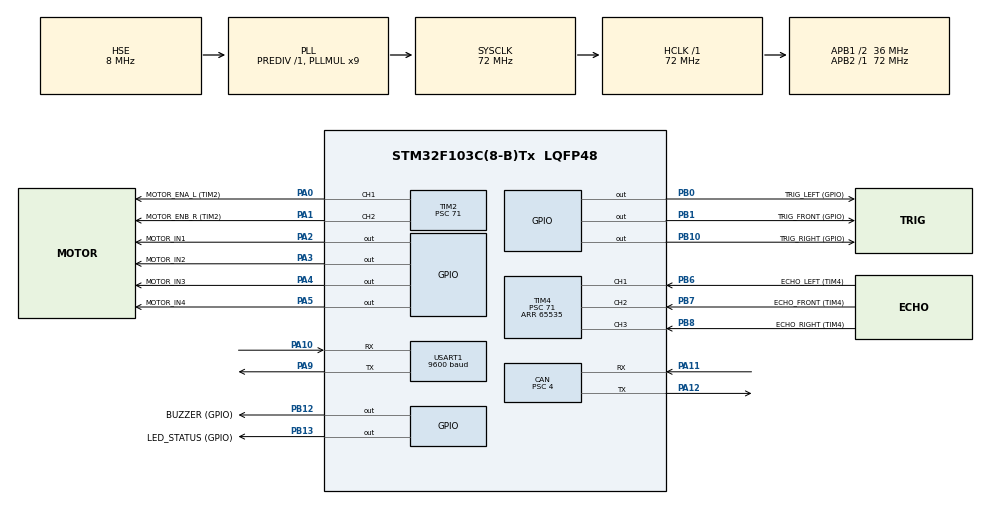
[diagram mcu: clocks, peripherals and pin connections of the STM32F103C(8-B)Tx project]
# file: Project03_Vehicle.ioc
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CAN.BS1=CAN_BS1_15TQ
CAN.BS2=CAN_BS2_2TQ
CAN.CalculateBaudRate=500000
CAN.CalculateTimeBit=2000
CAN.CalculateTimeQuantum=111.11111111111111
CAN.NART=ENABLE
CAN.Prescaler=4
FREERTOS.Mutexes01=DriveModeMutex,Dynamic,NULL,Available
FREERTOS.Tasks01=TrigTask,0,128,StartTrigTask,Default,NULL,Dynamic,NULL,NULL;CtrlTask,1,256,StartCtrlTask,Default,NULL,Dynamic,NULL,NULL;CanRxTask,2,256,StartCanRxTask,As external,NULL,Dynamic,NULL,NULL;CanTxTask,-2,128,StartCanTxTask,As external,NULL,Dynamic,NULL,NULL
FREERTOS.configTOTAL_HEAP_SIZE=10240
Mcu.Family=STM32F1
Mcu.Name=STM32F103C(8-B)Tx
Mcu.Package=LQFP48
NVIC.PriorityGroup=NVIC_PRIORITYGROUP_4
NVIC.TIM4_IRQn=true\:5\:0\:false\:false\:true\:true\:true\:true\:true
NVIC.USART1_IRQn=true\:5\:0\:false\:false\:true\:true\:true\:true\:true
NVIC.USB_LP_CAN1_RX0_IRQn=true\:5\:0\:false\:false\:true\:true\:true\:true\:true
PA0-WKUP.GPIO_Label=MOTOR_ENA_L (TIM2)
PA0-WKUP.Signal=S_TIM2_CH1_ETR
PA1.GPIO_Label=MOTOR_ENB_R (TIM2)
PA1.Signal=S_TIM2_CH2
PA10.Mode=Asynchronous
PA10.Signal=USART1_RX
PA11.GPIO_Mode=GPIO_MODE_INPUT
PA11.GPIO_PuPd=GPIO_NOPULL
PA11.Mode=CAN_Activate
PA11.Signal=CAN_RX
PA12.Mode=CAN_Activate
PA12.Signal=CAN_TX
PA13.Mode=Serial_Wire
PA13.Signal=SYS_JTMS-SWDIO
PA14.Mode=Serial_Wire
PA14.Signal=SYS_JTCK-SWCLK
PA2.GPIO_Label=MOTOR_IN1
PA2.Signal=GPIO_Output
PA3.GPIO_Label=MOTOR_IN2
PA3.Signal=GPIO_Output
PA4.GPIO_Label=MOTOR_IN3
PA4.Signal=GPIO_Output
PA5.GPIO_Label=MOTOR_IN4
PA5.Signal=GPIO_Output
PA9.Mode=Asynchronous
PA9.Signal=USART1_TX
PB0.GPIO_Label=TRIG_LEFT (GPIO)
PB0.Signal=GPIO_Output
PB1.GPIO_Label=TRIG_FRONT (GPIO)
PB1.Signal=GPIO_Output
PB10.GPIO_Label=TRIG_RIGHT (GPIO)
PB10.Signal=GPIO_Output
PB12.GPIO_Label=BUZZER (GPIO)
PB12.Signal=GPIO_Output
PB13.GPIO_Label=LED_STATUS (GPIO)
PB13.Signal=GPIO_Output
PB6.GPIO_Label=ECHO_LEFT (TIM4)
PB6.Signal=S_TIM4_CH1
PB7.GPIO_Label=ECHO_FRONT (TIM4)
PB7.Signal=S_TIM4_CH2
PB8.GPIO_Label=ECHO_RIGHT (TIM4)
PB8.Signal=S_TIM4_CH3
PD0-OSC_IN.Mode=HSE-External-Oscillator
PD0-OSC_IN.Signal=RCC_OSC_IN
PD1-OSC_OUT.Mode=HSE-External-Oscillator
PD1-OSC_OUT.Signal=RCC_OSC_OUT
ProjectManager.HeapSize=0x200
ProjectManager.StackSize=0x400
ProjectManager.TargetToolchain=STM32CubeIDE
RCC.AHBFreq_Value=72000000
RCC.APB1CLKDivider=RCC_HCLK_DIV2
RCC.APB1Freq_Value=36000000
RCC.APB1TimFreq_Value=72000000
RCC.APB2Freq_Value=72000000
RCC.APB2TimFreq_Value=72000000
RCC.HCLKFreq_Value=72000000
RCC.PLLMUL=RCC_PLL_MUL9
RCC.PLLSourceVirtual=RCC_PLLSOURCE_HSE
RCC.SYSCLKFreq_VALUE=72000000
RCC.SYSCLKSource=RCC_SYSCLKSOURCE_PLLCLK
RCC.USBFreq_Value=72000000
SH.S_TIM2_CH1_ETR.0=TIM2_CH1,PWM Generation1 CH1
SH.S_TIM2_CH2.0=TIM2_CH2,PWM Generation2 CH2
SH.S_TIM4_CH1.0=TIM4_CH1,Input_Capture1_from_TI1
SH.S_TIM4_CH2.0=TIM4_CH2,Input_Capture2_from_TI2
SH.S_TIM4_CH3.0=TIM4_CH3,Input_Capture3_from_TI3
TIM2.Channel-PWM\ Generation1\ CH1=TIM_CHANNEL_1
TIM2.Channel-PWM\ Generation2\ CH2=TIM_CHANNEL_2
TIM2.Period=999
TIM2.Prescaler=71
TIM4.Channel-Input_Capture1_from_TI1=TIM_CHANNEL_1
TIM4.Channel-Input_Capture2_from_TI2=TIM_CHANNEL_2
TIM4.Channel-Input_Capture3_from_TI3=TIM_CHANNEL_3
TIM4.Period=65535
TIM4.Prescaler=71
USART1.BaudRate=9600
USART1.VirtualMode=VM_ASYNC
VP_FREERTOS_VS_CMSIS_V1.Mode=CMSIS_V1
board=custom

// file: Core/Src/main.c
/* USER CODE BEGIN Header */
/**
  ******************************************************************************
  * @file           : main.c
  * @brief          : Main program body
  *
  * [수정 사항]
  * 1. AUTOSAR-lite 3계층(ASW/RTE/BSW) 구조로 재편 (ecu_l298n/ecu_hcsr04/
  *    mcal_can/rte_mode_manager/rte_motor/rte_sensor/asw_manual_control/asw_autonomous)
  * 2. 초기화 순서: BSW/ECU(RTE 경유) -> RTE -> BSW/MCAL -> ASW
  * 3. CAN Rx FIFO0 콜백을 mcal_can 모듈로 위임
  * 4. osKernelStart() 이후 도달 불가능한 코드 없음 (Error_Handler 자체가
  *    내부 무한루프이므로 그 아래에는 어떤 코드도 올 수 없음)
  ******************************************************************************
  * @attention
  *
  * Copyright (c) 2026 STMicroelectronics.
  * All rights reserved.
  *
  * This software is licensed under terms that can be found in the LICENSE file
  * in the root directory of this software component.
  * If no LICENSE file comes with this software, it is provided AS-IS.
  *
  ******************************************************************************
  */
/* USER CODE END Header */
#include "main.h"
#include "cmsis_os.h"
#include "can.h"
#include "tim.h"
#include "usart.h"
#include "gpio.h"

/* USER CODE BEGIN Includes */
#include <stdio.h>   /* printf/setvbuf/stdout 사용 */
#include "rte_motor.h"
#include "rte_sensor.h"
#include "mcal_can.h"
#include "rte_mode_manager.h"
#include "asw_manual_control.h"
#include "asw_autonomous.h"
#include "mcal_bt_serial.h"
/* USER CODE END Includes */

/* USER CODE BEGIN PV */
/* ==========================================================================
 * CAN 버스 진단용 전역 변수 (STM32CubeIDE의 Live Expressions 창 관찰 전용)
 *
 * 이 보드에는 USB-TTL 어댑터가 없어 printf 로그를 눈으로 볼 수 없다. 그래서
 * 디버거의 Live Expressions 창에서 값을 직접 들여다볼 수 있도록, 파일 스코프
 * static이 아니라 "static 없는 volatile 전역"으로 선언한다.
 *   - static을 붙이면 심볼이 파일 내부에 숨어 디버거가 못 찾는 경우가 있다.
 *   - volatile을 붙여야 컴파일러가 값을 레지스터에만 담아두지 않고 매번 RAM에
 *     써주므로, 디버거가 읽는 값이 항상 최신값이 된다.
 *
 * 값의 출처는 CAN 오류상태 레지스터(CAN_ESR)이며, 비트 배치는 RM0008
 * (STM32F1 참조매뉴얼) 기준이다.
 *   REC  = 비트 31:24 (수신 오류 카운터)
 *   TEC  = 비트 23:16 (송신 오류 카운터)
 *   LEC  = 비트  6:4  (마지막 오류 코드)
 *   BOFF = 비트 2     (버스오프 상태)
 *   EPVF = 비트 1     (오류 수동 상태)
 *   EWGF = 비트 0     (오류 경고 상태)
 *
 * LEC(마지막 오류 코드) 값 의미표
 *   0 : 오류 없음
 *   1 : 스터프 오류
 *   2 : 폼 오류
 *   3 : ACK 오류   <-- 응답(ACK)해 주는 노드가 버스에 하나도 없다는 뜻
 *   4 : 비트 리세시브 오류
 *   5 : 비트 도미넌트 오류
 *   6 : CRC 오류
 *   7 : 소프트웨어가 설정한 값
 * ========================================================================== */
volatile uint8_t  g_vdiag_can_tec         = 0u;  /* 송신 오류 카운터 (ESR 23:16) */
volatile uint8_t  g_vdiag_can_rec         = 0u;  /* 수신 오류 카운터 (ESR 31:24) */
volatile uint8_t  g_vdiag_can_lec         = 0u;  /* 마지막 오류 코드 0~7 (ESR 6:4) */
volatile uint8_t  g_vdiag_can_boff        = 0u;  /* 버스오프 상태면 1 (ESR 비트2) */
volatile uint8_t  g_vdiag_can_epvf        = 0u;  /* 오류 수동 상태면 1 (ESR 비트1) */
volatile uint8_t  g_vdiag_can_ewgf        = 0u;  /* 오류 경고 상태면 1 (ESR 비트0) */
volatile uint32_t g_vdiag_can_esr_raw     = 0u;  /* ESR 레지스터 원본값 */
volatile uint32_t g_vdiag_can_tx_ok       = 0u;  /* 송신 요청 성공 누적 횟수 */
volatile uint32_t g_vdiag_can_tx_fail     = 0u;  /* 송신 요청 실패 누적 횟수 */
volatile uint32_t g_vdiag_can_free_mb     = 0u;  /* 비어 있는 송신 메일박스 수 (0~3) */
volatile uint32_t g_vdiag_can_recover_cnt = 0u;  /* 버스오프 복구 "성공" 누적 횟수
                                                  * (시도가 아니라 Stop+Start가 모두
                                                  *  성공한 경우에만 증가한다) */
volatile uint8_t  g_vdiag_can_stuck       = 0u;  /* 지금 버스오프 복구가 안 되고 막혀 있는 상태면 1
                                                  * (영구 래치가 아니라 현재 상태를 나타내는 레벨
                                                  *  플래그. 복구에 성공하는 즉시 0으로 돌아온다) */
volatile uint8_t  g_vdiag_can_notify_ok   = 0u;  /* CAN 수신 인터럽트가 켜져 있으면 1 */

/* CtrlTask가 한 주기 돌 때마다 1씩 증가 (생존 증명).
 * CanTxTask가 약 1초 주기로 이 값의 증가 여부를 확인해 HEARTBEAT에 실어 보낸다. */
volatile uint32_t g_ctrl_loop_alive_counter = 0u;
/* USER CODE END PV */

void SystemClock_Config(void);
void MX_FREERTOS_Init(void);

int main(void)
{

  /* USER CODE BEGIN 1 */
  /* newlib-nano 기본값은 non-tty stdout을 Full-Buffered로 취급해서
     버퍼가 다 찰 때까지(또는 fflush) printf가 실제로 나가지 않는다.
     임베디드는 exit()이 없으므로 반드시 Unbuffered로 강제해야
     디버그 로그가 즉시 시리얼 터미널에 출력된다. */
  setvbuf(stdout, NULL, _IONBF, 0);
  /* USER CODE END 1 */

  /* MCU Configuration--------------------------------------------------------*/

  /* Reset of all peripherals, Initializes the Flash interface and the Systick. */
  HAL_Init();

  /* Configure the system clock */
  SystemClock_Config();

  /* Initialize all configured peripherals */
  MX_GPIO_Init();
  MX_TIM2_Init();
  MX_TIM4_Init();
  MX_USART1_UART_Init();
  MX_CAN_Init();
  /* USER CODE BEGIN 2 */
  /* ---- 계층 순서대로 초기화: BSW/ECU(RTE 경유) -> RTE -> BSW/MCAL -> ASW ----
   * 1) BSW/ECU : 모터 PWM 시작, 초음파 IC 시작 (하드웨어 최우선 기동, RTE 경유)
   * 2) RTE     : 주행모드 Mutex 준비
   * 3) BSW/MCAL: CAN Mail Queue/필터/인터럽트 준비
   * 4) ASW     : 수동/자율 로직 초기 상태(정지) 세팅
   *
   * RTE_Mode_Init()이 MCAL_CAN_Init()보다 먼저 와야 하는 이유:
   *   CAN RX 인터럽트가 활성화된 순간부터 ASW_Manual_ApplyCanCommand()가
   *   RTE_Mode_SetDriveMode()를 호출할 수 있으므로, Mutex가
   *   미리 생성되어 있어야 함.
   */
  RTE_Motor_Init();
  RTE_Sensor_Init();

  RTE_Mode_Init();
  MCAL_CAN_Init();
  MCAL_BtSerial_Init();

  ASW_Manual_Init();
  ASW_Autonomous_Init();

  printf("\r\n[BOOT] Node2 (STM32F103C8T6) Ready - Mode=MANUAL, CAN=500kbps\r\n");
  /* USER CODE END 2 */

  /* Call init function for freertos objects (in cmsis_os2.c) */
  MX_FREERTOS_Init();

  /* Start scheduler */
  osKernelStart();

  /* We should never get here as control is now taken by the scheduler */

  /* Infinite loop */
  /* USER CODE BEGIN WHILE */
  /* 여기까지 오면 스케줄러 시작 실패 -> 안전하게 정지
     (Error_Handler() 내부가 이미 무한루프이므로 이 아래에는
      어떤 코드도 올 수 없다) */
  Error_Handler();
  /* USER CODE END WHILE */

}

void SystemClock_Config(void)
{
  RCC_OscInitTypeDef RCC_OscInitStruct = {0};
  RCC_ClkInitTypeDef RCC_ClkInitStruct = {0};

  /** Initializes the RCC Oscillators according to the specified parameters
  * in the RCC_OscInitTypeDef structure.
  */
  RCC_OscInitStruct.OscillatorType = RCC_OSCILLATORTYPE_HSE;
  RCC_OscInitStruct.HSEState = RCC_HSE_ON;
  RCC_OscInitStruct.HSEPredivValue = RCC_HSE_PREDIV_DIV1;
  RCC_OscInitStruct.HSIState = RCC_HSI_ON;
  RCC_OscInitStruct.PLL.PLLState = RCC_PLL_ON;
  RCC_OscInitStruct.PLL.PLLSource = RCC_PLLSOURCE_HSE;
  RCC_OscInitStruct.PLL.PLLMUL = RCC_PLL_MUL9;
  if (HAL_RCC_OscConfig(&RCC_OscInitStruct) != HAL_OK)
  {
    Error_Handler();
  }

  /** Initializes the CPU, AHB and APB buses clocks
  */
  RCC_ClkInitStruct.ClockType = RCC_CLOCKTYPE_HCLK|RCC_CLOCKTYPE_SYSCLK
                              |RCC_CLOCKTYPE_PCLK1|RCC_CLOCKTYPE_PCLK2;
  RCC_ClkInitStruct.SYSCLKSource = RCC_SYSCLKSOURCE_PLLCLK;
  RCC_ClkInitStruct.AHBCLKDivider = RCC_SYSCLK_DIV1;
  RCC_ClkInitStruct.APB1CLKDivider = RCC_HCLK_DIV2;
  RCC_ClkInitStruct.APB2CLKDivider = RCC_HCLK_DIV1;

  if (HAL_RCC_ClockConfig(&RCC_ClkInitStruct, FLASH_LATENCY_2) != HAL_OK)
  {
    Error_Handler();
  }
}

/* USER CODE BEGIN 4 */
/**
 * @brief printf 저수준 출력 -> USART1(115200bps)로 1바이트씩 전송.
 *        syscalls.c의 _write()가 호출하는 weak 함수를 여기서 구현해야
 *        printf가 실제로 시리얼 모니터에 출력된다.
 */
int __io_putchar(int ch)
{
    HAL_UART_Transmit(&huart1, (uint8_t *)&ch, 1, HAL_MAX_DELAY);
    return ch;
}

/**
 * @brief TIM4 IC 캡처 콜백 -> rte_sensor(ECU_HCSR04) 모듈로 위임
 */
void HAL_TIM_IC_CaptureCallback(TIM_HandleTypeDef *htim)
{
    RTE_Sensor_HandleCaptureIsr(htim);
}

/**
 * @brief CAN RX FIFO0 메시지 도착 콜백 -> mcal_can 모듈로 위임 (ISR Context)
 */
void HAL_CAN_RxFifo0MsgPendingCallback(CAN_HandleTypeDef *hcan)
{
    MCAL_CAN_HandleRxFifoIsr(hcan);
}

/**
 * @brief USART1 수신 완료 콜백 -> mcal_bt_serial 모듈로 위임 (ISR Context)
 */
void HAL_UART_RxCpltCallback(UART_HandleTypeDef *huart)
{
    MCAL_BtSerial_HandleRxCpltIsr(huart);
}

/**
 * @brief USART1 수신 에러 콜백 -> mcal_bt_serial 모듈로 위임 (ISR Context)
 *        오버런(ORE) 등 에러가 나면 HAL이 수신을 중단해 버리므로,
 *        여기서 에러 플래그를 지우고 수신을 다시 걸어 복구한다.
 */
void HAL_UART_ErrorCallback(UART_HandleTypeDef *huart)
{
    MCAL_BtSerial_HandleErrorIsr(huart);
}
/* USER CODE END 4 */

void Error_Handler(void)
{
  __disable_irq();
  while (1)
  {
  }
}
#ifdef USE_FULL_ASSERT
/**
  * @brief  Reports the name of the source file and the source line number
  *         where the assert_param error has occurred.
  * @param  file: pointer to the source file name
  * @param  line: assert_param error line source number
  * @retval None
  */
void assert_failed(uint8_t *file, uint32_t line)
{
  /* USER CODE BEGIN 6 */
  (void)file;
  (void)line;
  /* USER CODE END 6 */
}
#endif /* USE_FULL_ASSERT */

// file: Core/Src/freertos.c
/* USER CODE BEGIN Header */
/**
  ******************************************************************************
  * File Name          : freertos.c
  * Description        : Code for freertos applications
  *
  * [수정 사항]
  * 1. AUTOSAR-lite 3계층 적용: ASW(asw_*) / RTE(rte_*) / BSW(mcal_*, ecu_*)
  * 2. CanRxTask/CanTxTask 신규 추가 (3-Node CAN 통신)
  * 3. 상태머신(수동/자동) 전환은 rte_mode_manager의 Mutex 보호 전역으로 관리
  * 4. 거리 공유값 volatile 전역 유지 (CtrlTask 갱신 -> CanTxTask 참조)
  * 5. HAL_Delay 전면 배제, osDelay로 태스크 동기화
  ******************************************************************************
  * @attention
  *
  * Copyright (c) 2026 STMicroelectronics.
  * All rights reserved.
  *
  * This software is licensed under terms that can be found in the LICENSE file
  * in the root directory of this software component.
  * If no LICENSE file comes with this software, it is provided AS-IS.
  *
  ******************************************************************************
  */
/* USER CODE END Header */

#include "FreeRTOS.h"
#include "task.h"
#include "main.h"
#include "cmsis_os.h"

/* USER CODE BEGIN Includes */
#include <stdio.h>
#include "rte_motor.h"
#include "rte_sensor.h"
#include "mcal_can.h"
#include "rte_mode_manager.h"
#include "asw_manual_control.h"
#include "asw_autonomous.h"
#include "ecu_hcsr04.h"   /* ECU_HCSR04_SENSOR_* / ECU_HCSR04_DIST_MAX_CM 직접 참조 (허용 예외) */
#include "mcal_bt_serial.h"
/* USER CODE END Includes */

/* USER CODE BEGIN Variables */
/* 공유 거리값 (volatile: CtrlTask가 갱신, CanTxTask가 참조/브로드캐스트) */
volatile uint32_t g_dist_left  = ECU_HCSR04_DIST_MAX_CM;
volatile uint32_t g_dist_front = ECU_HCSR04_DIST_MAX_CM;
volatile uint32_t g_dist_right = ECU_HCSR04_DIST_MAX_CM;
/* USER CODE END Variables */
osThreadId TrigTaskHandle;
osThreadId CtrlTaskHandle;
osThreadId CanRxTaskHandle;
osThreadId CanTxTaskHandle;
osMutexId DriveModeMutexHandle;

/* USER CODE BEGIN FunctionPrototypes */
void StartCanRxTask(void const * argument);
void StartCanTxTask(void const * argument);
/* USER CODE END FunctionPrototypes */

void StartTrigTask(void const * argument);
void StartCtrlTask(void const * argument);
extern void StartCanRxTask(void const * argument);
extern void StartCanTxTask(void const * argument);

void MX_FREERTOS_Init(void); /* (MISRA C 2004 rule 8.1) */

/* GetIdleTaskMemory prototype (linked to static allocation support) */
void vApplicationGetIdleTaskMemory( StaticTask_t **ppxIdleTaskTCBBuffer, StackType_t **ppxIdleTaskStackBuffer, uint32_t *pulIdleTaskStackSize );

/* USER CODE BEGIN GET_IDLE_TASK_MEMORY */
static StaticTask_t xIdleTaskTCBBuffer;
static StackType_t xIdleStack[configMINIMAL_STACK_SIZE];

void vApplicationGetIdleTaskMemory( StaticTask_t **ppxIdleTaskTCBBuffer, StackType_t **ppxIdleTaskStackBuffer, uint32_t *pulIdleTaskStackSize )
{
  *ppxIdleTaskTCBBuffer = &xIdleTaskTCBBuffer;
  *ppxIdleTaskStackBuffer = &xIdleStack[0];
  *pulIdleTaskStackSize = configMINIMAL_STACK_SIZE;
}
/* USER CODE END GET_IDLE_TASK_MEMORY */

void MX_FREERTOS_Init(void) {
  /* USER CODE BEGIN Init */
  /* CAN / TaskManager 관련 RTOS 객체는 osKernelStart() 이전,
     각 Task 진입점 첫 줄에서 초기화하지 않고 여기서 선행 생성한다.
     (Mutex/MailQueue는 Task 생성보다 먼저 준비되어 있어야 ISR/Task 경합 없음) */
  /* USER CODE END Init */
  /* Create the mutex(es) */
  /* definition and creation of DriveModeMutex */
  osMutexDef(DriveModeMutex);
  DriveModeMutexHandle = osMutexCreate(osMutex(DriveModeMutex));

  /* Create the thread(s) */
  /* definition and creation of TrigTask */
  osThreadDef(TrigTask, StartTrigTask, osPriorityNormal, 0, 128);
  TrigTaskHandle = osThreadCreate(osThread(TrigTask), NULL);

  /* definition and creation of CtrlTask */
  osThreadDef(CtrlTask, StartCtrlTask, osPriorityAboveNormal, 0, 256);
  CtrlTaskHandle = osThreadCreate(osThread(CtrlTask), NULL);

  /* definition and creation of CanRxTask */
  osThreadDef(CanRxTask, StartCanRxTask, osPriorityHigh, 0, 256);
  CanRxTaskHandle = osThreadCreate(osThread(CanRxTask), NULL);

  /* definition and creation of CanTxTask */
  osThreadDef(CanTxTask, StartCanTxTask, osPriorityLow, 0, 128);
  CanTxTaskHandle = osThreadCreate(osThread(CanTxTask), NULL);

  /* USER CODE BEGIN RTOS_THREADS */
  /* CanRxTask/CanTxTask는 위 CubeMX 생성 블록에서 이미 생성되므로 여기서
   * 중복 생성하지 않는다 (osThreadDef 중복 정의로 빌드 에러 발생했었음) */
  /* USER CODE END RTOS_THREADS */

}

/* USER CODE BEGIN Header_StartTrigTask */
/**
* @brief 3개 초음파 센서를 순차 트리거하는 태스크.
* @param argument: Not used
* @retval None
*/
/* USER CODE END Header_StartTrigTask */
void StartTrigTask(void const * argument)
{
  /* USER CODE BEGIN StartTrigTask */
  osDelay(200); /* 시스템 안정화 대기 */

  for(;;)
  {
    /* 고정 65ms 대기 대신, 실제 에코가 돌아온 즉시(IsReady) 다음 센서로 넘어간다.
     * 가까운 벽일수록 초음파 왕복시간이 짧아지므로(예: 20cm면 약 1ms), 위험할수록
     * 오히려 갱신이 더 빨라진다. 에코가 안 돌아오는 경우(장애물 없음)에 대비해
     * 65ms를 상한으로 유지해 원래의 타임아웃 안전장치는 그대로 둔다. */
    RTE_Sensor_TriggerSensor(ECU_HCSR04_SENSOR_LEFT);
    for (uint32_t waited = 0u; waited < 65u && !RTE_Sensor_IsReady(ECU_HCSR04_SENSOR_LEFT); waited++)
    {
        osDelay(1);
    }

    RTE_Sensor_TriggerSensor(ECU_HCSR04_SENSOR_FRONT);
    for (uint32_t waited = 0u; waited < 65u && !RTE_Sensor_IsReady(ECU_HCSR04_SENSOR_FRONT); waited++)
    {
        osDelay(1);
    }

    RTE_Sensor_TriggerSensor(ECU_HCSR04_SENSOR_RIGHT);
    for (uint32_t waited = 0u; waited < 65u && !RTE_Sensor_IsReady(ECU_HCSR04_SENSOR_RIGHT); waited++)
    {
        osDelay(1);
    }
  }
  /* USER CODE END StartTrigTask */
}

/* USER CODE BEGIN Header_StartCtrlTask */
/**
* @brief 거리값 갱신 + 현재 주행모드에 따라 수동/자율 로직으로 분기 실행.
* @param argument: Not used
* @retval None
*/
/* USER CODE END Header_StartCtrlTask */
void StartCtrlTask(void const * argument)
{
  /* USER CODE BEGIN StartCtrlTask */
  static uint32_t debugLogCounter = 0; /* 4회에 1번(200ms)만 UART 로그 출력 */

  osDelay(500); /* TrigTask 첫 측정 완료까지 대기 */

  for(;;)
  {
    /* 제어 루프가 살아서 한 주기를 돌고 있음을 증명 (CanTxTask가 HEARTBEAT에 반영) */
    g_ctrl_loop_alive_counter++;

    uint32_t left  = RTE_Sensor_GetDistance(ECU_HCSR04_SENSOR_LEFT);
    uint32_t front = RTE_Sensor_GetDistance(ECU_HCSR04_SENSOR_FRONT);
    uint32_t right = RTE_Sensor_GetDistance(ECU_HCSR04_SENSOR_RIGHT);

    /* CanTxTask가 참조할 수 있도록 공유 전역 갱신 */
    g_dist_left  = left;
    g_dist_front = front;
    g_dist_right = right;

    if ((debugLogCounter++ % 4u) == 0u)
    {
        printf("[US] L=%3lucm F=%3lucm R=%3lucm\r\n",
               (unsigned long)left, (unsigned long)front, (unsigned long)right);

        /* 블루투스 수신 진단은 printf로 찍지 않는다.
         * printf 출력이 나가는 huart1은 HC-06 블루투스와 같은 USART1이라,
         * 로그가 디버그 창이 아니라 휴대폰 앱으로 전송된다. 게다가 9600bps에서는
         * 한 줄(약 30바이트)에 30ms 넘게 블로킹 송신을 하므로 제어주기(50ms)를
         * 심하게 잡아먹는다.
         * 대신 mcal_bt_serial.c의 진단용 카운터(s_rxCount / s_errCount)를
         * STM32CubeIDE의 Live Expressions 창에서 직접 관찰한다. */
    }

    /* 휴대폰 앱 블루투스 명령(모드 전환 포함)은 현재 모드와 무관하게 항상 확인한다 -
     * 자율주행 중에도 'P'를 받으면 바로 수동 전환돼야 하기 때문 */
    ASW_Manual_ApplySerialChar(MCAL_BtSerial_GetChar());

    if (RTE_Mode_GetDriveMode() == RTE_DRIVE_MODE_MANUAL)
    {
        ASW_Manual_ProcessControl();
    }
    else
    {
        ASW_Autonomous_ProcessControl(left, front, right);
    }

    osDelay(50); /* 50ms 제어 주기 */
  }
  /* USER CODE END StartCtrlTask */
}

/* USER CODE BEGIN Application */

/* USER CODE BEGIN Header_StartCanRxTask */
/**
* @brief CAN Mail Queue에서 수신 메시지를 꺼내 ASW_Manual_ApplyCanCommand로 즉시 라우팅.
* @param argument: Not used
* @retval None
*/
/* USER CODE END Header_StartCanRxTask */
void StartCanRxTask(void const * argument)
{
  /* USER CODE BEGIN StartCanRxTask */
  McalCanMsg_t msg;

  for(;;)
  {
    /* Mail Queue가 빌 때까지 블로킹 대기 - ISR(MCAL_CAN_HandleRxFifoIsr)이
     * Put하는 즉시 이 Task가 깨어나 라우팅한다 */
    if (MCAL_CAN_Receive(&msg, osWaitForever) == osOK)
    {
        ASW_Manual_ApplyCanCommand(&msg);
    }
  }
  /* USER CODE END StartCanRxTask */
}

/* ---- 버스오프 자동 복구 (진단용 임시 코드가 아니라 정식 기능) ----
 * 이 보드는 CubeMX 설정에서 AutoBusOff가 DISABLE(꺼짐)로 되어 있다.
 * AutoBusOff가 켜져 있으면 버스오프에 빠졌을 때 하드웨어가 알아서 복구
 * 절차를 밟지만, 꺼져 있으면 CAN 컨트롤러는 버스오프 상태에 그대로
 * 눌러앉아 영원히 한 프레임도 내보내지 않는다. 즉 상대 노드가 꺼져 있는
 * 동안 혼자 송신하다 한 번 버스오프로 떨어지면, 나중에 상대 노드를 켜도
 * 이쪽은 영영 조용한 채로 남는다. 그래서 소프트웨어가 버스오프를 직접
 * 감지해 CAN을 껐다 켜서 되살려 주어야 한다.
 * (.ioc 설정은 건드리지 않는 것이 요구사항이므로 이 소프트웨어 복구
 *  로직을 정식으로 남겨 둔다.)
 *
 * 재시도는 절대 포기하지 않는다. 지금 복구가 막혀 있으면
 * g_vdiag_can_stuck을 1로 올려 두되(영구 래치가 아닌 현재 상태 플래그),
 * 다음 주기에도 계속 시도하며 복구에 성공하는 순간 다시 0으로 내린다.
 *
 * @retval 0 : 버스오프가 아니거나 이번 주기에 할 일 없음(재시도 간격 대기)
 * @retval 1 : 이번 호출에서 복구 성공
 * @retval 2 : 시도했으나 실패 (g_vdiag_can_stuck = 1)
 */
/* keep this function's logic in sync with remote/Core/Src/freertos.c's equivalent recovery helper
 * the busOffRetryTick throttle exists only because StartCanTxTask calls this every 100ms while remote's
 * StartDefaultTask already paces at ~1s via osDelay(1000); apart from that the logic must stay identical. */
static uint8_t Can_TryBusOffRecover(void)
{
  /* 버스오프 복구 재시도 간격을 제한하기 위한 주기 카운터.
   * CanTxTask가 100ms 주기로 이 함수를 호출하므로 10주기 = 약 1초에 한 번만
   * 실제 복구를 시도한다. (static이라 호출 사이에 값이 유지된다)
   *
   * 간격을 두는 이유:
   *  1) HAL_CAN_Stop()은 CAN을 초기화 모드로 넣으면서 대기 중이던 송신
   *     메일박스를 전부 취소해 버린다. 100ms마다 Stop/Start를 반복하면
   *     정상 복구된 뒤에도 송신이 계속 끊겨 오히려 통신이 더 나빠진다.
   *  2) CAN 규격상 버스오프에서 빠져나오려면 "연속 11비트 리세시브"를
   *     128번 관측해야 한다. 상대 노드가 아직 안 켜져 있으면 복구 직후
   *     곧바로 다시 버스오프로 떨어지므로, 더 자주 시도해봐야 소용없다.
   *     1초 간격이면 상대 노드가 살아나는 즉시 늦어도 1초 안에 다시 붙는다.
   *  3) 복구 성공이 1초에 최대 1번만 집계되므로, Live Expressions에서
   *     g_vdiag_can_recover_cnt를 "지금까지 되살아난 횟수"로 읽을 수 있다.
   *     (버스가 붙었다 끊겼다를 반복하는 동안에는 초당 1씩 늘어난다.
   *      반대로 복구가 계속 실패하는 동안에는 값이 멈춰 있으므로, 이 값을
   *      '버스오프였던 시간'으로 읽어서는 안 된다.) */
  static uint32_t busOffRetryTick = 0u;

  HAL_StatusTypeDef stopStatus;
  HAL_StatusTypeDef startStatus;
  HAL_StatusTypeDef notifyStatus;
  uint8_t attemptNow;

  if (g_vdiag_can_boff == 0u)
  {
    /* 정상 상태로 돌아왔으면 다음 버스오프 때 곧바로 복구할 수 있도록
     * 재시도 카운터를 초기화해 둔다. */
    busOffRetryTick = 0u;
    return 0u;
  }

  attemptNow = (busOffRetryTick == 0u) ? 1u : 0u;

  busOffRetryTick++;
  if (busOffRetryTick >= 10u)   /* 100ms * 10 = 약 1초마다 재시도 */
  {
    busOffRetryTick = 0u;
  }

  if (attemptNow == 0u)
  {
    return 0u;   /* 재시도 간격에 걸림: 이번 주기는 아무것도 건드리지 않는다 */
  }

  /* 상태 조건을 "먼저" 확인한다. 실제로 시도할 수 있는 전이일 때만 수신
   * 인터럽트를 껐다 켠다. HAL_CAN_Stop()은 State가 LISTENING일 때만 성공하고,
   * 다른 상태(특히 이전 시도가 타임아웃되어 굳어버린 HAL_CAN_STATE_ERROR)에서는
   * 내부 가드에 막혀 아무 일도 하지 않고 HAL_ERROR만 돌려준다. 그런 상황에서
   * 인터럽트만 껐다 켜는 것은 얻는 것 없이 수신만 흔드는 짓이므로,
   * 시도조차 못 하는 경우에는 인터럽트를 전혀 건드리지 않고 바로 빠져나온다. */
  if (hcan.State != HAL_CAN_STATE_LISTENING)
  {
    /* 인터럽트는 위 설명대로 전혀 건드리지 않지만, 진단 플래그는 갱신해 둔다.
     * 이 함수의 실패가 아니라 바깥의 다른 원인으로 CAN 상태가 망가진 경우,
     * 플래그는 마지막에 기록된 값(대개 "정상")에 영원히 멈춰 있게 되고
     * 그러면 HEARTBEAT bit3이 계속 거짓 정보를 내보낸다. State가 LISTENING
     * 조차 아니라면 수신이 정상 상태라고 볼 근거가 없으므로 0으로 내린다. */
    g_vdiag_can_stuck = 1u;
    g_vdiag_can_notify_ok = 0u;
    return 2u;
  }

  /* Stop/Start 전에 수신 인터럽트를 먼저 꺼 둔다.
   * 이 과정에서 CAN 셀은 초기화 모드로 들어갔다 나오는데, 그 도중에
   * HAL_CAN_RxFifo0MsgPendingCallback()이 끼어들면 재설정 중인 같은 hcan
   * 핸들을 동시에 건드리게 된다.
   * HAL_CAN_Stop()은 인터럽트 설정을 건드리지 않으므로 직접 꺼야 한다. */
  (void)HAL_CAN_DeactivateNotification(&hcan, CAN_IT_RX_FIFO0_MSG_PENDING);

  /* 반환값을 따지지 않고 무조건 플래그를 내린다. "수신 인터럽트를 꺼 달라"고
   * 요청한 순간부터는 그 호출이 성공했든 실패했든 수신이 정상 상태라고 볼 수
   * 없기 때문이다. 어차피 함수 끝에서 ActivateNotification 결과로 다시 세팅된다. */
  g_vdiag_can_notify_ok = 0u;

  /* Stop -> Start 로 CAN 셀을 초기화 모드에 넣었다 빼면서 버스오프 복구
   * 시퀀스를 다시 시작시킨다. */
  stopStatus = HAL_CAN_Stop(&hcan);

  /* HAL_CAN_Start()는 State가 READY일 때만 성공한다.
   * HAL_CAN_Stop()은 성공 경로에서 반드시 State를 HAL_CAN_STATE_READY로 내려놓고
   * HAL_OK를 반환하므로(벤더 HAL 소스 확인), stopStatus == HAL_OK 하나만으로
   * READY가 보장된다. 예전에 함께 보던 (hcan.State == HAL_CAN_STATE_READY)는
   * 항상 참인 중복 조건이라 제거했다. */
  if (stopStatus == HAL_OK)
  {
    startStatus = HAL_CAN_Start(&hcan);
  }
  else
  {
    startStatus = HAL_ERROR;
  }

  /* 성공/실패 어느 쪽이든, 우리가 껐던 수신 인터럽트는 반드시 다시 켜서
   * 영구히 꺼진 채로 남지 않게 한다. 셀이 HAL_CAN_STATE_ERROR로 굳었다면
   * 이 호출도 같은 내부 가드에 막혀 HAL_ERROR를 돌려주는데, 그 결과를
   * 버리지 않고 진단 플래그에 그대로 반영해 둔다. */
  notifyStatus = HAL_CAN_ActivateNotification(&hcan, CAN_IT_RX_FIFO0_MSG_PENDING);
  g_vdiag_can_notify_ok = (uint8_t)((notifyStatus == HAL_OK) ? 1u : 0u);

  if ((stopStatus == HAL_OK) && (startStatus == HAL_OK))
  {
    /* 시퀀스 전체가 성공했을 때만 복구로 인정하고 센다. */
    g_vdiag_can_stuck = 0u;
    g_vdiag_can_recover_cnt++;
    return 1u;
  }

  /* 이번 시도는 실패. 다음 주기에도 계속 재시도한다(포기하지 않는다). */
  g_vdiag_can_stuck = 1u;
  return 2u;
}

/* USER CODE BEGIN Header_StartCanTxTask */
/**
* @brief 100ms 주기로 현재 주행모드와 거리값을 SLAVE_STATUS(0x200)로 브로드캐스트.
* @param argument: Not used
* @retval None
*/
/* USER CODE END Header_StartCanTxTask */
void StartCanTxTask(void const * argument)
{
  /* USER CODE BEGIN StartCanTxTask */
  /* HEARTBEAT(0x3F0) 송신 주기 카운터.
   * 이 태스크는 100ms 주기이므로 10주기 = 약 1초에 한 번만 생존 신호를 보낸다.
   * 상태(0x200)는 100ms마다 나가지만, 생존 신호까지 같은 주기로 내보내면
   * 송신 메일박스(3개)와 버스 대역만 낭비된다. 마스터 입장에서 "이 노드가
   * 살아 있는가"는 1초 해상도면 충분하다. */
  uint32_t heartbeatTick = 0u;

  /* 직전 HEARTBEAT 때 읽어 둔 제어 루프 생존 카운터 값.
   * 이 태스크는 절대 반환하지 않으므로 지역변수만으로도 주기 사이에 값이
   * 유지된다(static 불필요). 다음 HEARTBEAT 때 값이 그대로면 CtrlTask가
   * 멈춘 것으로 판정한다. */
  uint32_t lastCtrlAliveSnapshot = 0u;

  for(;;)
  {
    uint32_t esr;

    McalCanSlaveState_t state = (RTE_Mode_GetDriveMode() == RTE_DRIVE_MODE_AUTO)
                               ? MCAL_CAN_STATE_AUTO
                               : MCAL_CAN_STATE_MANUAL;

    MCAL_CAN_BroadcastSlaveStatus(state, g_dist_left, g_dist_front, g_dist_right);

    /* ---- [진단] CAN 오류상태 레지스터(ESR) 주기 갱신 ----
     * 비트 배치는 RM0008(STM32F1 참조매뉴얼) 기준이며, 아래 CAN_ESR_*_Pos /
     * CAN_ESR_*_Msk 매크로는 CMSIS 헤더(stm32f103xb.h)가 제공하는 공식 값이다.
     *   REC = 31:24 / TEC = 23:16 / LEC = 6:4 / BOFF = 비트2 / EPVF = 비트1 /
     *   EWGF = 비트0
     * ESR은 읽기 전용 상태 레지스터이므로 여기서 읽어도 통신에 영향이 없다. */
    esr = hcan.Instance->ESR;

    g_vdiag_can_esr_raw = esr;
    g_vdiag_can_rec  = (uint8_t)((esr & CAN_ESR_REC_Msk) >> CAN_ESR_REC_Pos);
    g_vdiag_can_tec  = (uint8_t)((esr & CAN_ESR_TEC_Msk) >> CAN_ESR_TEC_Pos);
    g_vdiag_can_lec  = (uint8_t)((esr & CAN_ESR_LEC_Msk) >> CAN_ESR_LEC_Pos);
    g_vdiag_can_boff = (uint8_t)(((esr & CAN_ESR_BOFF) != 0u) ? 1u : 0u);
    g_vdiag_can_epvf = (uint8_t)(((esr & CAN_ESR_EPVF) != 0u) ? 1u : 0u);
    g_vdiag_can_ewgf = (uint8_t)(((esr & CAN_ESR_EWGF) != 0u) ? 1u : 0u);

    /* ---- 버스오프 자동 복구 ----
     * 실제 복구 로직과 재시도 간격 제한은 Can_TryBusOffRecover()가 전담한다.
     * 결과는 g_vdiag_can_stuck / g_vdiag_can_recover_cnt 전역에 반영되고,
     * 바로 아래 HEARTBEAT가 그 값을 그대로 실어 보내므로 반환값은 쓰지 않는다. */
    (void)Can_TryBusOffRecover();

    /* ---- HEARTBEAT(0x3F0) 약 1초 주기 송신 ----
     * DLC 1바이트짜리 최소 프레임으로 "이 노드가 아직 제대로 돌고 있다"를 알린다.
     * payload[0]은 비트필드이며 각 비트의 의미는 아래와 같다 (0 = 전부 정상).
     *   bit0 : 버스오프 복구가 막혀 있음        (g_vdiag_can_stuck)
     *   bit1 : CAN 오류 수동(Error Passive)     (g_vdiag_can_epvf)
     *   bit2 : CAN 오류 경고(Error Warning)     (g_vdiag_can_ewgf)
     *   bit3 : CAN 수신 인터럽트가 꺼져 있음    (g_vdiag_can_notify_ok == 0)
     *   bit4 : 제어 루프(CtrlTask)가 멈춤
     *   bit5~7 : 예약(항상 0)
     *
     * bit4가 핵심이다. 이 태스크(CanTxTask)는 우선순위가 가장 낮아서, 이 프레임이
     * 나갔다는 사실만으로는 "CanTxTask가 스케줄됐다"는 것밖에 증명하지 못한다.
     * 실제로 센서를 읽고 위험하면 모터를 세우는 것은 50ms 주기의 CtrlTask이므로,
     * CtrlTask가 매 주기 올리는 생존 카운터가 지난 HEARTBEAT 이후로 늘었는지를
     * 함께 확인한다. 카운터가 그대로면 제어 루프가 멈춘 것이고, 그때 모터는
     * 마지막 명령 듀티로 계속 돌고 있으므로 마스터가 반드시 알아야 한다.
     *
     * 위 버스오프 복구 블록이 끝난 뒤에 보내는 이유는, 이번 주기에 복구를
     * 시도하다 실패해 g_vdiag_can_stuck이 막 1이 된 경우까지 같은 주기 안에서
     * 곧바로 반영해 내보내기 위해서다.
     *
     * 물론 CAN 셀이 정말 죽었다면 이 프레임 자체가 버스로 나가지 못한다.
     * 그때는 마스터가 "비트가 1이라고 알려오는 것"이 아니라 "생존 신호가 끊긴 것"
     * 으로 고장을 판정하게 된다. 이 비트필드는 셀이 아직 송신은 되는 상태에서
     * 어디가 어떻게 나쁜지를 구분해 주는 용도다. */
    heartbeatTick++;
    if (heartbeatTick >= 10u)   /* 100ms * 10 = 약 1초 */
    {
      uint32_t ctrlAliveNow = g_ctrl_loop_alive_counter;
      uint8_t  healthBits   = 0u;

      if (g_vdiag_can_stuck != 0u)
      {
        healthBits |= 0x01u;
      }
      if (g_vdiag_can_epvf != 0u)
      {
        healthBits |= 0x02u;
      }
      if (g_vdiag_can_ewgf != 0u)
      {
        healthBits |= 0x04u;
      }
      if (g_vdiag_can_notify_ok == 0u)
      {
        healthBits |= 0x08u;
      }
      if (ctrlAliveNow == lastCtrlAliveSnapshot)
      {
        /* 지난 HEARTBEAT 이후 제어 루프가 한 주기도 못 돌았다는 뜻.
         * (부팅 직후에도 CtrlTask가 첫 HEARTBEAT보다 먼저 돌기 시작하므로
         *  카운터는 이미 0이 아니다. 만에 하나 아직 0이라면 그것 역시
         *  "제어 루프가 아직 안 돌고 있다"는 사실 그대로의 보고다.) */
        healthBits |= 0x10u;
      }

      lastCtrlAliveSnapshot = ctrlAliveNow;

      MCAL_CAN_BroadcastHeartbeat(healthBits);

      heartbeatTick = 0u;
    }

    osDelay(100);
  }
  /* USER CODE END StartCanTxTask */
}

/* USER CODE END Application */
